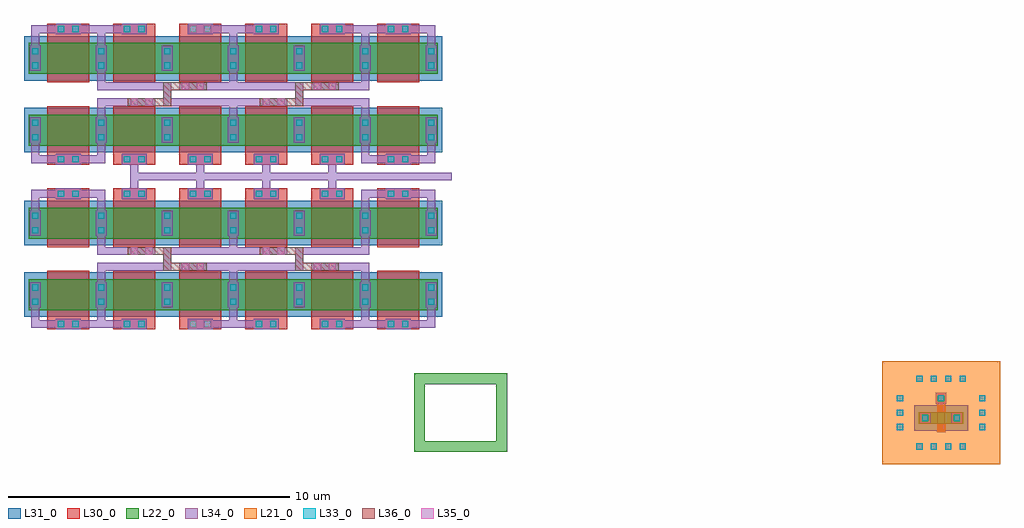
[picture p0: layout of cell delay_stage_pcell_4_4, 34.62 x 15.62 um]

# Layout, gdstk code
import gdstk
lib = gdstk.Library(unit=1e-6, precision=5e-09)
def R(c, l, rs):  # rectangles x0, y0, x1, y1
    for r in rs: c.add(gdstk.rectangle(r[:2], r[2:], *l))
def A(c, l, x, y, w, h, nx, ny, dx, dy):  # array of equal rectangles
    R(c, l, [(x+i*dx, y+j*dy, x+i*dx+w, y+j*dy+h) for i in range(nx) for j in range(ny)])
def P(c, l, *ps):  # polygons
    for p in ps: c.add(gdstk.Polygon(p, *l))
L21_0 = (21, 0)
L22_0 = (22, 0)
L30_0 = (30, 0)
L31_0 = (31, 0)
L33_0 = (33, 0)
L34_0 = (34, 0)
L35_0 = (35, 0)
L36_0 = (36, 0)

delay_stage_pcell_1_2 = lib.new_cell('delay_stage_pcell_1$2')
R(delay_stage_pcell_1_2, L22_0, [(0.17,0.3,0.63,1.4), (0.63,0.3,2.51,1.4), (2.51,0.3,2.97,1.4)])
R(delay_stage_pcell_1_2, L30_0, [(0.82,0,2.32,1.7)])
R(delay_stage_pcell_1_2, L31_0, [(0,0.06,3.14,1.64)])
R(delay_stage_pcell_1_2, L33_0, [(0.29,0.485,0.51,0.705), (2.63,0.485,2.85,0.705), (0.29,0.995,0.51,1.215), (2.63,0.995,2.85,1.215)])
R(delay_stage_pcell_1_2, L34_0, [(0.21,0.405,0.59,1.295), (2.55,0.405,2.93,1.295)])

delay_stage_pcell_4 = lib.new_cell('delay_stage_pcell_4')
delay_stage_pcell_4.add(gdstk.Reference(delay_stage_pcell_1_2, (0,0)))
delay_stage_pcell_4.add(gdstk.Reference(delay_stage_pcell_1_2, (2.34,0)))
delay_stage_pcell_4.add(gdstk.Reference(delay_stage_pcell_1_2, (4.68,0)))
delay_stage_pcell_4.add(gdstk.Reference(delay_stage_pcell_1_2, (7.02,0)))

delay_stage_pcell_1_1 = lib.new_cell('delay_stage_pcell_1$1')
R(delay_stage_pcell_1_1, L22_0, [(0.17,0.3,0.63,1.4), (0.63,0.3,2.51,1.4), (2.51,0.3,2.97,1.4)])
R(delay_stage_pcell_1_1, L30_0, [(0.82,0,2.32,1.7)])
R(delay_stage_pcell_1_1, L31_0, [(0,0.06,3.14,1.64)])
R(delay_stage_pcell_1_1, L33_0, [(0.29,0.485,0.51,0.705), (2.63,0.485,2.85,0.705), (0.29,0.995,0.51,1.215), (2.63,0.995,2.85,1.215)])
R(delay_stage_pcell_1_1, L34_0, [(0.21,0.405,0.59,1.295), (2.55,0.405,2.93,1.295)])

delay_stage_pcell_1_4 = lib.new_cell('delay_stage_pcell_1_4')
R(delay_stage_pcell_1_4, L30_0, [(0.82,0,2.32,0.38), (0.82,4.62,2.32,5), (0.82,5.84,2.32,6.22), (0.82,10.46,2.32,10.84)])
R(delay_stage_pcell_1_4, L33_0, [(1.205,0.08,1.425,0.3), (1.715,0.08,1.935,0.3), (1.205,4.7,1.425,4.92), (1.715,4.7,1.935,4.92), (1.205,5.92,1.425,6.14), (1.715,5.92,1.935,6.14), (1.205,10.54,1.425,10.76), (1.715,10.54,1.935,10.76)])
R(delay_stage_pcell_1_4, L34_0, [(1.125,0,2.015,0.38), (1.125,4.62,2.015,5), (1.125,5.84,2.015,6.22), (1.125,10.46,2.015,10.84)])
delay_stage_pcell_1_4.add(gdstk.FlexPath([(2.74,10.055),(2.74,10.65),(0.4,10.65),(0.4,10.055)], 0.28, ends="flush", simple_path=True, layer=34, datatype=0))  # L34_0
delay_stage_pcell_1_4.add(gdstk.FlexPath([(2.74,0.785),(2.74,0.19),(0.4,0.19),(0.4,0.785)], 0.28, ends="flush", simple_path=True, layer=34, datatype=0))  # L34_0
delay_stage_pcell_1_4.add(gdstk.FlexPath([(2.74,6.625),(2.74,6.03),(0.4,6.03),(0.4,6.625)], 0.28, ends="flush", simple_path=True, layer=34, datatype=0))  # L34_0
delay_stage_pcell_1_4.add(gdstk.FlexPath([(2.74,4.215),(2.74,4.81),(0.4,4.81),(0.4,4.215)], 0.28, ends="flush", simple_path=True, layer=34, datatype=0))  # L34_0
delay_stage_pcell_1_4.add(gdstk.Reference(delay_stage_pcell_1_1, (0,8.76)))
delay_stage_pcell_1_4.add(gdstk.Reference(delay_stage_pcell_1_1, (0,2.92)))
delay_stage_pcell_1_4.add(gdstk.Reference(delay_stage_pcell_1_1, (0,2.08), x_reflection=True))
delay_stage_pcell_1_4.add(gdstk.Reference(delay_stage_pcell_1_1, (0,7.92), x_reflection=True))

delay_stage_pcell_4_4 = lib.new_cell('delay_stage_pcell_4_4')
R(delay_stage_pcell_4_4, L21_0, [(28.095,-4.275,32.275,-0.615)])
R(delay_stage_pcell_4_4, L22_0, [(29.395,-2.845,29.855,-2.425), (29.855,-2.845,30.515,-2.425), (30.515,-2.845,30.975,-2.425)])
P(delay_stage_pcell_4_4, L22_0, [(11.495,-3.835),(11.495,-1.435),(11.875,-1.435),(11.875,-3.455),(14.415,-3.455),(14.415,-1.435),(11.495,-1.435),(11.495,-1.055),(14.795,-1.055),(14.795,-3.835)])
R(delay_stage_pcell_4_4, L30_0, [(30.045,-3.145,30.325,-2.125), (29.995,-2.125,30.375,-1.745), (0.82,0.51,2.32,0.89), (0.82,0.51,2.32,0.89), (3.16,0.51,4.66,0.89), (3.16,0.51,4.66,0.89), (5.5,0.51,7,0.89), (5.5,0.51,7,0.89), (7.84,0.51,9.34,0.89), (7.84,0.51,9.34,0.89), (0.82,5.13,2.32,5.51), (0.82,5.13,2.32,5.51), (3.16,5.13,4.66,5.51), (3.16,5.13,4.66,5.51), (5.5,5.13,7,5.51), (5.5,5.13,7,5.51), (7.84,5.13,9.34,5.51), (7.84,5.13,9.34,5.51), (0.82,6.35,2.32,6.73), (0.82,6.35,2.32,6.73), (3.16,6.35,4.66,6.73), (3.16,6.35,4.66,6.73), (5.5,6.35,7,6.73), (5.5,6.35,7,6.73), (7.84,6.35,9.34,6.73), (7.84,6.35,9.34,6.73), (0.82,10.97,2.32,11.35), (0.82,10.97,2.32,11.35), (3.16,10.97,4.66,11.35), (3.16,10.97,4.66,11.35), (5.5,10.97,7,11.35), (5.5,10.97,7,11.35), (7.84,10.97,9.34,11.35), (7.84,10.97,9.34,11.35)])
R(delay_stage_pcell_4_4, L31_0, [(29.225,-3.085,31.145,-2.185)])
A(delay_stage_pcell_4_4, L33_0, 29.31, -3.755, 0.22, 0.22, 4, 2, 0.51, 2.4)
A(delay_stage_pcell_4_4, L33_0, 28.615, -2.045, 0.22, 0.22, 3, 1, 1.46, 0)
R(delay_stage_pcell_4_4, L33_0, [(28.615,-3.065,28.835,-2.845), (31.535,-3.065,31.755,-2.845), (29.515,-2.745,29.735,-2.525), (30.635,-2.745,30.855,-2.525), (28.615,-2.555,28.835,-2.335), (31.535,-2.555,31.755,-2.335), (1.205,0.59,1.425,0.81), (1.205,0.59,1.425,0.81), (1.715,0.59,1.935,0.81), (1.715,0.59,1.935,0.81), (3.545,0.59,3.765,0.81), (3.545,0.59,3.765,0.81), (4.055,0.59,4.275,0.81), (4.055,0.59,4.275,0.81), (5.885,0.59,6.105,0.81), (5.885,0.59,6.105,0.81), (6.395,0.59,6.615,0.81), (6.395,0.59,6.615,0.81), (8.225,0.59,8.445,0.81), (8.225,0.59,8.445,0.81), (8.735,0.59,8.955,0.81), (8.735,0.59,8.955,0.81), (1.205,5.21,1.425,5.43), (1.205,5.21,1.425,5.43), (1.715,5.21,1.935,5.43), (1.715,5.21,1.935,5.43), (3.545,5.21,3.765,5.43), (3.545,5.21,3.765,5.43), (4.055,5.21,4.275,5.43), (4.055,5.21,4.275,5.43), (5.885,5.21,6.105,5.43), (5.885,5.21,6.105,5.43), (6.395,5.21,6.615,5.43), (6.395,5.21,6.615,5.43), (8.225,5.21,8.445,5.43), (8.225,5.21,8.445,5.43), (8.735,5.21,8.955,5.43), (8.735,5.21,8.955,5.43), (1.205,6.43,1.425,6.65), (1.205,6.43,1.425,6.65), (1.715,6.43,1.935,6.65), (1.715,6.43,1.935,6.65), (3.545,6.43,3.765,6.65), (3.545,6.43,3.765,6.65), (4.055,6.43,4.275,6.65), (4.055,6.43,4.275,6.65), (5.885,6.43,6.105,6.65), (5.885,6.43,6.105,6.65), (6.395,6.43,6.615,6.65), (6.395,6.43,6.615,6.65), (8.225,6.43,8.445,6.65), (8.225,6.43,8.445,6.65), (8.735,6.43,8.955,6.65), (8.735,6.43,8.955,6.65), (1.205,11.05,1.425,11.27), (1.205,11.05,1.425,11.27), (1.715,11.05,1.935,11.27), (1.715,11.05,1.935,11.27), (3.545,11.05,3.765,11.27), (3.545,11.05,3.765,11.27), (4.055,11.05,4.275,11.27), (4.055,11.05,4.275,11.27), (5.885,11.05,6.105,11.27), (5.885,11.05,6.105,11.27), (6.395,11.05,6.615,11.27), (6.395,11.05,6.615,11.27), (8.225,11.05,8.445,11.27), (8.225,11.05,8.445,11.27), (8.735,11.05,8.955,11.27), (8.735,11.05,8.955,11.27)])
R(delay_stage_pcell_4_4, L34_0, [(29.435,-2.825,29.815,-2.445), (30.555,-2.825,30.935,-2.445), (29.995,-2.125,30.375,-1.745), (1.125,0.51,2.015,0.89), (3.465,0.51,4.355,0.89), (3.465,0.51,4.355,0.89), (5.805,0.51,6.695,0.89), (5.805,0.51,6.695,0.89), (8.145,0.51,9.035,0.89), (1.125,5.13,2.015,5.51), (3.465,5.13,4.355,5.51), (3.465,5.13,4.355,5.51), (5.805,5.13,6.695,5.51), (5.805,5.13,6.695,5.51), (8.145,5.13,9.035,5.51), (8.145,5.13,9.035,5.51), (1.125,6.35,2.015,6.73), (1.125,6.35,2.015,6.73), (3.465,6.35,4.355,6.73), (3.465,6.35,4.355,6.73), (5.805,6.35,6.695,6.73), (5.805,6.35,6.695,6.73), (8.145,6.35,9.035,6.73), (8.145,6.35,9.035,6.73), (1.125,10.97,2.015,11.35), (3.465,10.97,4.355,11.35), (3.465,10.97,4.355,11.35), (5.805,10.97,6.695,11.35), (5.805,10.97,6.695,11.35), (8.145,10.97,9.035,11.35)])
R(delay_stage_pcell_4_4, L35_0, [(3.52,0.57,3.78,0.83), (3.52,0.57,3.78,0.83), (4.04,0.57,4.3,0.83), (4.04,0.57,4.3,0.83), (3.26,2.6,3.52,2.86), (3.26,2.6,3.52,2.86), (3.78,2.6,4.04,2.86), (3.78,2.6,4.04,2.86), (7.94,2.6,8.2,2.86), (7.94,2.6,8.2,2.86), (8.46,2.6,8.72,2.86), (8.46,2.6,8.72,2.86), (1.44,3.16,1.7,3.42), (1.44,3.16,1.7,3.42), (1.96,3.16,2.22,3.42), (1.96,3.16,2.22,3.42), (6.12,3.16,6.38,3.42), (6.12,3.16,6.38,3.42), (6.64,3.16,6.9,3.42), (6.64,3.16,6.9,3.42), (1.44,8.44,1.7,8.7), (1.44,8.44,1.7,8.7), (1.96,8.44,2.22,8.7), (1.96,8.44,2.22,8.7), (6.12,8.44,6.38,8.7), (6.12,8.44,6.38,8.7), (6.64,8.44,6.9,8.7), (6.64,8.44,6.9,8.7), (3.26,9,3.52,9.26), (3.26,9,3.52,9.26), (3.78,9,4.04,9.26), (3.78,9,4.04,9.26), (7.94,9,8.2,9.26), (7.94,9,8.2,9.26), (8.46,9,8.72,9.26), (8.46,9,8.72,9.26), (3.52,11.03,3.78,11.29), (3.52,11.03,3.78,11.29), (4.04,11.03,4.3,11.29), (4.04,11.03,4.3,11.29)])
delay_stage_pcell_4_4.add(gdstk.FlexPath([(5.805,11.16),(4.355,11.16)], 0.28, ends="flush", simple_path=True, layer=34, datatype=0))  # L34_0
delay_stage_pcell_4_4.add(gdstk.FlexPath([(5.08,10.565),(5.08,11.02)], 0.28, ends="flush", simple_path=True, layer=34, datatype=0))  # L34_0
delay_stage_pcell_4_4.add(gdstk.FlexPath([(9.035,11.16),(9.76,11.16),(9.76,10.565)], 0.28, ends="flush", simple_path=True, layer=34, datatype=0))  # L34_0
delay_stage_pcell_4_4.add(gdstk.FlexPath([(1.125,11.16),(0.4,11.16),(0.4,10.565)], 0.28, ends="flush", simple_path=True, layer=34, datatype=0))  # L34_0
delay_stage_pcell_4_4.add(gdstk.FlexPath([(5.805,0.7),(4.355,0.7)], 0.28, ends="flush", simple_path=True, layer=34, datatype=0))  # L34_0
delay_stage_pcell_4_4.add(gdstk.FlexPath([(5.08,1.295),(5.08,0.84)], 0.28, ends="flush", simple_path=True, layer=34, datatype=0))  # L34_0
delay_stage_pcell_4_4.add(gdstk.FlexPath([(9.035,0.7),(9.76,0.7),(9.76,1.295)], 0.28, ends="flush", simple_path=True, layer=34, datatype=0))  # L34_0
delay_stage_pcell_4_4.add(gdstk.FlexPath([(1.125,0.7),(0.4,0.7),(0.4,1.295)], 0.28, ends="flush", simple_path=True, layer=34, datatype=0))  # L34_0
delay_stage_pcell_4_4.add(gdstk.FlexPath([(1.43,5.93),(12.835,5.93)], 0.28, ends="flush", simple_path=True, layer=34, datatype=0))  # L34_0
delay_stage_pcell_4_4.add(gdstk.FlexPath([(0.4,2.185),(0.4,2.73),(1.34,2.73)], 0.28, ends="flush", simple_path=True, layer=34, datatype=0))  # L34_0
delay_stage_pcell_4_4.add(gdstk.FlexPath([(0.4,2.185),(0.4,2.73),(1.34,2.73)], 0.28, ends="flush", simple_path=True, layer=34, datatype=0))  # L34_0
delay_stage_pcell_4_4.add(gdstk.FlexPath([(5.08,2.185),(5.08,2.59)], 0.28, ends="flush", simple_path=True, layer=34, datatype=0))  # L34_0
delay_stage_pcell_4_4.add(gdstk.FlexPath([(5.08,2.185),(5.08,2.59)], 0.28, ends="flush", simple_path=True, layer=34, datatype=0))  # L34_0
delay_stage_pcell_4_4.add(gdstk.FlexPath([(9.76,2.185),(9.76,2.73),(8.82,2.73)], 0.28, ends="flush", simple_path=True, layer=34, datatype=0))  # L34_0
delay_stage_pcell_4_4.add(gdstk.FlexPath([(9.76,2.185),(9.76,2.73),(8.82,2.73)], 0.28, ends="flush", simple_path=True, layer=34, datatype=0))  # L34_0
delay_stage_pcell_4_4.add(gdstk.FlexPath([(1.34,2.73),(2.74,2.73),(2.74,3.29),(4.14,3.29)], 0.28, ends="flush", simple_path=True, layer=34, datatype=0))  # L34_0
delay_stage_pcell_4_4.add(gdstk.FlexPath([(1.34,2.73),(2.74,2.73),(2.74,3.29),(4.14,3.29)], 0.28, ends="flush", simple_path=True, layer=34, datatype=0))  # L34_0
delay_stage_pcell_4_4.add(gdstk.FlexPath([(3.16,2.73),(4.14,2.73)], 0.28, ends="flush", simple_path=True, layer=34, datatype=0))  # L34_0
delay_stage_pcell_4_4.add(gdstk.FlexPath([(3.16,2.73),(4.14,2.73)], 0.28, ends="flush", simple_path=True, layer=34, datatype=0))  # L34_0
delay_stage_pcell_4_4.add(gdstk.FlexPath([(6.02,2.73),(4.14,2.73)], 0.28, ends="flush", simple_path=True, layer=34, datatype=0))  # L34_0
delay_stage_pcell_4_4.add(gdstk.FlexPath([(6.02,2.73),(4.14,2.73)], 0.28, ends="flush", simple_path=True, layer=34, datatype=0))  # L34_0
delay_stage_pcell_4_4.add(gdstk.FlexPath([(6.02,2.73),(7.42,2.73),(7.42,3.29),(8.82,3.29)], 0.28, ends="flush", simple_path=True, layer=34, datatype=0))  # L34_0
delay_stage_pcell_4_4.add(gdstk.FlexPath([(6.02,2.73),(7.42,2.73),(7.42,3.29),(8.82,3.29)], 0.28, ends="flush", simple_path=True, layer=34, datatype=0))  # L34_0
delay_stage_pcell_4_4.add(gdstk.FlexPath([(7.84,2.73),(8.82,2.73)], 0.28, ends="flush", simple_path=True, layer=34, datatype=0))  # L34_0
delay_stage_pcell_4_4.add(gdstk.FlexPath([(7.84,2.73),(8.82,2.73)], 0.28, ends="flush", simple_path=True, layer=34, datatype=0))  # L34_0
delay_stage_pcell_4_4.add(gdstk.FlexPath([(1.34,3.29),(2.32,3.29)], 0.28, ends="flush", simple_path=True, layer=34, datatype=0))  # L34_0
delay_stage_pcell_4_4.add(gdstk.FlexPath([(1.34,3.29),(2.32,3.29)], 0.28, ends="flush", simple_path=True, layer=34, datatype=0))  # L34_0
delay_stage_pcell_4_4.add(gdstk.FlexPath([(6.02,3.29),(4.14,3.29)], 0.28, ends="flush", simple_path=True, layer=34, datatype=0))  # L34_0
delay_stage_pcell_4_4.add(gdstk.FlexPath([(6.02,3.29),(4.14,3.29)], 0.28, ends="flush", simple_path=True, layer=34, datatype=0))  # L34_0
delay_stage_pcell_4_4.add(gdstk.FlexPath([(6.02,3.29),(7,3.29)], 0.28, ends="flush", simple_path=True, layer=34, datatype=0))  # L34_0
delay_stage_pcell_4_4.add(gdstk.FlexPath([(6.02,3.29),(7,3.29)], 0.28, ends="flush", simple_path=True, layer=34, datatype=0))  # L34_0
delay_stage_pcell_4_4.add(gdstk.FlexPath([(8.82,3.29),(9.76,3.29),(9.76,3.835)], 0.28, ends="flush", simple_path=True, layer=34, datatype=0))  # L34_0
delay_stage_pcell_4_4.add(gdstk.FlexPath([(8.82,3.29),(9.76,3.29),(9.76,3.835)], 0.28, ends="flush", simple_path=True, layer=34, datatype=0))  # L34_0
delay_stage_pcell_4_4.add(gdstk.FlexPath([(0.4,3.835),(0.4,3.29),(1.34,3.29)], 0.28, ends="flush", simple_path=True, layer=34, datatype=0))  # L34_0
delay_stage_pcell_4_4.add(gdstk.FlexPath([(0.4,3.835),(0.4,3.29),(1.34,3.29)], 0.28, ends="flush", simple_path=True, layer=34, datatype=0))  # L34_0
delay_stage_pcell_4_4.add(gdstk.FlexPath([(5.08,3.835),(5.08,3.43)], 0.28, ends="flush", simple_path=True, layer=34, datatype=0))  # L34_0
delay_stage_pcell_4_4.add(gdstk.FlexPath([(5.08,3.835),(5.08,3.43)], 0.28, ends="flush", simple_path=True, layer=34, datatype=0))  # L34_0
delay_stage_pcell_4_4.add(gdstk.FlexPath([(0.4,8.025),(0.4,8.57),(1.34,8.57)], 0.28, ends="flush", simple_path=True, layer=34, datatype=0))  # L34_0
delay_stage_pcell_4_4.add(gdstk.FlexPath([(0.4,9.675),(0.4,9.13),(1.34,9.13)], 0.28, ends="flush", simple_path=True, layer=34, datatype=0))  # L34_0
delay_stage_pcell_4_4.add(gdstk.FlexPath([(5.08,9.675),(5.08,9.27)], 0.28, ends="flush", simple_path=True, layer=34, datatype=0))  # L34_0
delay_stage_pcell_4_4.add(gdstk.FlexPath([(5.08,8.025),(5.08,8.43)], 0.28, ends="flush", simple_path=True, layer=34, datatype=0))  # L34_0
delay_stage_pcell_4_4.add(gdstk.FlexPath([(8.82,8.57),(9.76,8.57),(9.76,8.025)], 0.28, ends="flush", simple_path=True, layer=34, datatype=0))  # L34_0
delay_stage_pcell_4_4.add(gdstk.FlexPath([(9.76,9.675),(9.76,9.13),(8.82,9.13)], 0.28, ends="flush", simple_path=True, layer=34, datatype=0))  # L34_0
delay_stage_pcell_4_4.add(gdstk.FlexPath([(1.34,9.13),(2.74,9.13),(2.74,8.57),(4.14,8.57)], 0.28, ends="flush", simple_path=True, layer=34, datatype=0))  # L34_0
delay_stage_pcell_4_4.add(gdstk.FlexPath([(6.02,9.13),(7.42,9.13),(7.42,8.57),(8.82,8.57)], 0.28, ends="flush", simple_path=True, layer=34, datatype=0))  # L34_0
delay_stage_pcell_4_4.add(gdstk.FlexPath([(7.84,9.13),(8.82,9.13)], 0.28, ends="flush", simple_path=True, layer=34, datatype=0))  # L34_0
delay_stage_pcell_4_4.add(gdstk.FlexPath([(6.02,8.57),(7,8.57)], 0.28, ends="flush", simple_path=True, layer=34, datatype=0))  # L34_0
delay_stage_pcell_4_4.add(gdstk.FlexPath([(1.34,8.57),(2.32,8.57)], 0.28, ends="flush", simple_path=True, layer=34, datatype=0))  # L34_0
delay_stage_pcell_4_4.add(gdstk.FlexPath([(3.16,9.13),(4.14,9.13)], 0.28, ends="flush", simple_path=True, layer=34, datatype=0))  # L34_0
delay_stage_pcell_4_4.add(gdstk.FlexPath([(6.02,9.13),(4.14,9.13)], 0.28, ends="flush", simple_path=True, layer=34, datatype=0))  # L34_0
delay_stage_pcell_4_4.add(gdstk.FlexPath([(6.02,8.57),(4.14,8.57)], 0.28, ends="flush", simple_path=True, layer=34, datatype=0))  # L34_0
delay_stage_pcell_4_4.add(gdstk.FlexPath([(6.02,8.57),(4.14,8.57)], 0.28, ends="flush", simple_path=True, layer=34, datatype=0))  # L34_0
delay_stage_pcell_4_4.add(gdstk.FlexPath([(6.02,9.13),(4.14,9.13)], 0.28, ends="flush", simple_path=True, layer=34, datatype=0))  # L34_0
delay_stage_pcell_4_4.add(gdstk.FlexPath([(3.16,9.13),(4.14,9.13)], 0.28, ends="flush", simple_path=True, layer=34, datatype=0))  # L34_0
delay_stage_pcell_4_4.add(gdstk.FlexPath([(1.34,8.57),(2.32,8.57)], 0.28, ends="flush", simple_path=True, layer=34, datatype=0))  # L34_0
delay_stage_pcell_4_4.add(gdstk.FlexPath([(6.02,8.57),(7,8.57)], 0.28, ends="flush", simple_path=True, layer=34, datatype=0))  # L34_0
delay_stage_pcell_4_4.add(gdstk.FlexPath([(7.84,9.13),(8.82,9.13)], 0.28, ends="flush", simple_path=True, layer=34, datatype=0))  # L34_0
delay_stage_pcell_4_4.add(gdstk.FlexPath([(6.02,9.13),(7.42,9.13),(7.42,8.57),(8.82,8.57)], 0.28, ends="flush", simple_path=True, layer=34, datatype=0))  # L34_0
delay_stage_pcell_4_4.add(gdstk.FlexPath([(1.34,9.13),(2.74,9.13),(2.74,8.57),(4.14,8.57)], 0.28, ends="flush", simple_path=True, layer=34, datatype=0))  # L34_0
delay_stage_pcell_4_4.add(gdstk.FlexPath([(9.76,9.675),(9.76,9.13),(8.82,9.13)], 0.28, ends="flush", simple_path=True, layer=34, datatype=0))  # L34_0
delay_stage_pcell_4_4.add(gdstk.FlexPath([(8.82,8.57),(9.76,8.57),(9.76,8.025)], 0.28, ends="flush", simple_path=True, layer=34, datatype=0))  # L34_0
delay_stage_pcell_4_4.add(gdstk.FlexPath([(5.08,8.025),(5.08,8.43)], 0.28, ends="flush", simple_path=True, layer=34, datatype=0))  # L34_0
delay_stage_pcell_4_4.add(gdstk.FlexPath([(5.08,9.675),(5.08,9.27)], 0.28, ends="flush", simple_path=True, layer=34, datatype=0))  # L34_0
delay_stage_pcell_4_4.add(gdstk.FlexPath([(0.4,9.675),(0.4,9.13),(1.34,9.13)], 0.28, ends="flush", simple_path=True, layer=34, datatype=0))  # L34_0
delay_stage_pcell_4_4.add(gdstk.FlexPath([(0.4,8.025),(0.4,8.57),(1.34,8.57)], 0.28, ends="flush", simple_path=True, layer=34, datatype=0))  # L34_0
delay_stage_pcell_4_4.add(gdstk.FlexPath([(1.57,5.51),(1.57,5.79)], 0.28, ends="flush", simple_path=True, layer=34, datatype=0))  # L34_0
delay_stage_pcell_4_4.add(gdstk.FlexPath([(1.57,6.35),(1.57,6.07)], 0.28, ends="flush", simple_path=True, layer=34, datatype=0))  # L34_0
delay_stage_pcell_4_4.add(gdstk.FlexPath([(3.91,5.51),(3.91,5.79)], 0.28, ends="flush", simple_path=True, layer=34, datatype=0))  # L34_0
delay_stage_pcell_4_4.add(gdstk.FlexPath([(3.91,6.35),(3.91,6.07)], 0.28, ends="flush", simple_path=True, layer=34, datatype=0))  # L34_0
delay_stage_pcell_4_4.add(gdstk.FlexPath([(6.25,5.51),(6.25,5.79)], 0.28, ends="flush", simple_path=True, layer=34, datatype=0))  # L34_0
delay_stage_pcell_4_4.add(gdstk.FlexPath([(6.25,6.35),(6.25,6.07)], 0.28, ends="flush", simple_path=True, layer=34, datatype=0))  # L34_0
delay_stage_pcell_4_4.add(gdstk.FlexPath([(8.59,5.51),(8.59,5.79)], 0.28, ends="flush", simple_path=True, layer=34, datatype=0))  # L34_0
delay_stage_pcell_4_4.add(gdstk.FlexPath([(8.59,6.35),(8.59,6.07)], 0.28, ends="flush", simple_path=True, layer=34, datatype=0))  # L34_0
delay_stage_pcell_4_4.add(gdstk.FlexPath([(1.34,3.29),(2.74,3.29),(2.74,2.73),(4.14,2.73)], 0.28, ends="flush", simple_path=True, layer=36, datatype=0))  # L36_0
delay_stage_pcell_4_4.add(gdstk.FlexPath([(1.34,3.29),(2.74,3.29),(2.74,2.73),(4.14,2.73)], 0.28, ends="flush", simple_path=True, layer=36, datatype=0))  # L36_0
delay_stage_pcell_4_4.add(gdstk.FlexPath([(6.02,3.29),(7.42,3.29),(7.42,2.73),(8.82,2.73)], 0.28, ends="flush", simple_path=True, layer=36, datatype=0))  # L36_0
delay_stage_pcell_4_4.add(gdstk.FlexPath([(6.02,3.29),(7.42,3.29),(7.42,2.73),(8.82,2.73)], 0.28, ends="flush", simple_path=True, layer=36, datatype=0))  # L36_0
delay_stage_pcell_4_4.add(gdstk.FlexPath([(6.02,8.57),(7.42,8.57),(7.42,9.13),(8.82,9.13)], 0.28, ends="flush", simple_path=True, layer=36, datatype=0))  # L36_0
delay_stage_pcell_4_4.add(gdstk.FlexPath([(1.34,8.57),(2.74,8.57),(2.74,9.13),(4.14,9.13)], 0.28, ends="flush", simple_path=True, layer=36, datatype=0))  # L36_0
delay_stage_pcell_4_4.add(gdstk.FlexPath([(1.34,8.57),(2.74,8.57),(2.74,9.13),(4.14,9.13)], 0.28, ends="flush", simple_path=True, layer=36, datatype=0))  # L36_0
delay_stage_pcell_4_4.add(gdstk.FlexPath([(6.02,8.57),(7.42,8.57),(7.42,9.13),(8.82,9.13)], 0.28, ends="flush", simple_path=True, layer=36, datatype=0))  # L36_0
delay_stage_pcell_4_4.add(gdstk.Reference(delay_stage_pcell_4, (0,3.43)))
delay_stage_pcell_4_4.add(gdstk.Reference(delay_stage_pcell_4, (0,2.59), x_reflection=True))
delay_stage_pcell_4_4.add(gdstk.Reference(delay_stage_pcell_4, (0,9.27)))
delay_stage_pcell_4_4.add(gdstk.Reference(delay_stage_pcell_4, (0,8.43), x_reflection=True))
delay_stage_pcell_4_4.add(gdstk.Reference(delay_stage_pcell_1_4, (-2.34,0.51)))
delay_stage_pcell_4_4.add(gdstk.Reference(delay_stage_pcell_1_4, (9.36,0.51)))

lib.write_gds('delay_stage_pcell_4_4.gds')
